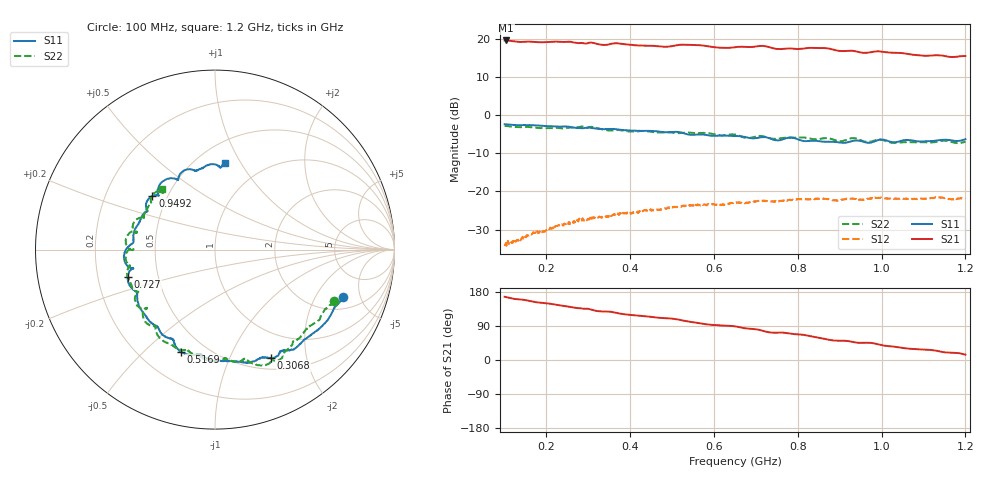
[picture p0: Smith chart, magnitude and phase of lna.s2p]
!Agilent Technologies,N5222A,MY51421306,A.09.85.08
!Agilent N5222A: A.09.85.08
!Date: Monday, May 06, 2013 14:39:55
!Correction: S11(Full 2 Port(1,2))
!S21(Full 2 Port(1,2))
!S12(Full 2 Port(1,2))
!S22(Full 2 Port(1,2))
!S2P File: Measurements: S11, S21, S12, S22:
# Hz S  dB  R 50
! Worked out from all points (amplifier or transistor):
!   1001 points, 100 MHz to 1.2 GHz, reference 50 ohm
!   highest |S21| = 19.6 dB at 103.3 MHz (marker M1)
!   |S21| within 3 dB of that: start of sweep to 944 MHz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
!   unconditionally stable (mu >= 1): 1.167 GHz to 1.181 GHz; 1.181686 GHz to 1.182823 GHz
!   at 282.6 MHz: K = 0.39, MSG = 23.3 dB, |S12| = -27.6 dB
!   at 650 MHz: K = 0.43, MSG = 20.3 dB, |S12| = -22.9 dB
!   at 1.2 GHz: K = 0.95, MSG = 18.7 dB, |S12| = -21.9 dB
!   S11 on the Smith chart (normalised r, x): 100 MHz: 2.75, -3.45; 306.8 MHz: 0.64, -1.44; 516.9 MHz: 0.37, -0.65; 727 MHz: 0.33, -0.14; 949.2 MHz: 0.41, +0.31; 1.2 GHz: 0.68, +0.86
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1e8  -2.40 -20.5  19.57 166.9  -34.37 44.9  -2.83 -23.2
1.033e8  -2.42 -21.4  19.59 166.0  -33.53 46.6  -2.84 -23.9
1.715e8  -2.67 -34.5  19.19 153.0  -30.90 45.0  -3.28 -37.4
2.199e8  -2.98 -44.3  19.30 146.5  -29.34 44.1  -3.35 -45.3
2.837e8  -3.43 -57.0  18.91 136.1  -27.31 38.7  -2.97 -59.3
3.068e8  -3.36 -62.7  19.04 132.9  -26.70 34.8  -3.07 -65.6
3.288e8  -3.66 -66.0  18.50 128.2  -26.74 32.6  -3.60 -72.5
3.728e8  -3.79 -76.1  18.79 123.0  -26.19 29.5  -3.91 -79.1
4.674e8  -4.27 -96.0  18.04 111.5  -24.93 20.5  -4.56 -97.1
5.169e8  -4.44 -108.7  18.44 106.3  -23.98 17.0  -4.74 -105.8
5.862e8  -5.28 -124.8  18.06 93.6  -23.38 7.1  -4.74 -122.3
6.5e8  -5.46 -138.1  17.81 88.8  -22.87 1.5  -5.09 -135.1
7.116e8  -5.80 -155.7  18.15 78.5  -22.49 -4.1  -5.46 -145.3
7.27e8  -5.88 -162.8  17.98 74.0  -22.56 -5.6  -5.85 -150.1
7.468e8  -6.56 -167.2  17.40 72.1  -22.47 -7.4  -6.22 -151.2
7.666e8  -6.26 -168.2  17.39 72.3  -22.35 -8.9  -5.96 -153.6
8.337e8  -6.70 170.3  17.65 61.9  -22.11 -16.2  -6.24 -168.6
8.766e8  -6.98 156.9  17.41 52.8  -22.13 -22.0  -6.11 -177.7
9.492e8  -6.75 139.3  16.45 45.2  -22.09 -26.2  -6.52 167.6
9.822e8  -6.92 135.3  16.67 43.8  -21.66 -28.4  -6.69 167.1
1.0174e9  -6.85 119.5  16.43 36.5  -21.88 -32.8  -7.05 156.3
1.2e9  -6.29 83.4  15.49 14.0  -21.86 -49.0  -6.94 131.2
